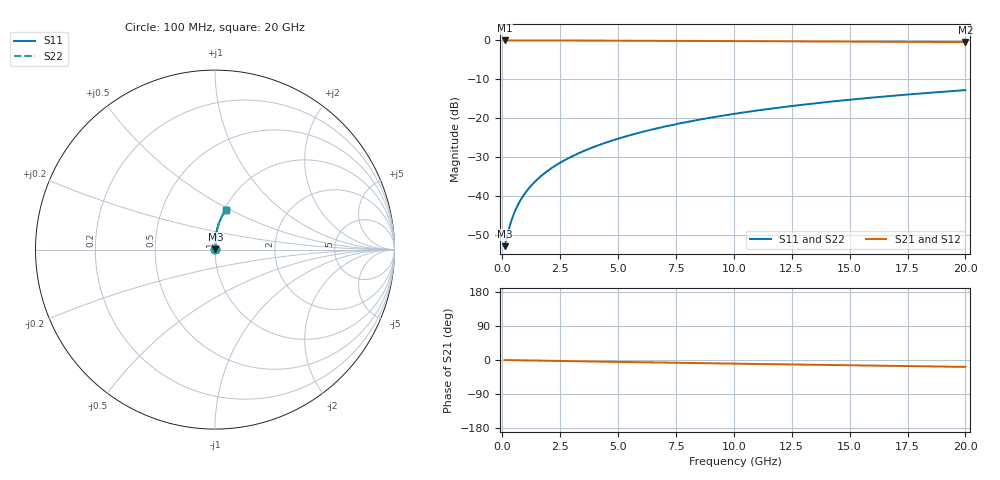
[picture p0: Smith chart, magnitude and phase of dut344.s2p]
! Touchstone file exported from HFSS 2024.1.0
!  File:  C:/UserFiles/LocalFiles/RDL_TSV_Batchsim/temp_RDL_top_344_1779607929.aedt
!  Generated:  03:34:26 PM May 24, 2026
!  Design:  RDL_top
!  Project:  temp_RDL_top_344_1779607929
!  Setup:  Setup1
!  Solution:  Sweep
! Variables:
!  dtsv = 10.80580581um
!  hbump = 3um
!  htsv = 53.34um
!  ldown = 100um
!  lrdl = 185.3um
!  p = 40
!  p1 = 57.5um
!  rhole = 1um
!  t = 450um
!  tdown = 3.915915916um
!  trdl = 2.08um
!  wdown = 15.38538539um
!  wrdl = 20.41um
# GHz S MA R 50.000000
! Terminal data exported
! Port[1] = Box2_T1
! Port[2] = Box2_T2
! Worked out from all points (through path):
!   200 points, 100 MHz to 20 GHz, reference 50 ohm
!   highest |S21| = -0.02 dB at 100 MHz (marker M1); lowest = -0.4 dB at 20 GHz (marker M2)
!   group delay of S21, straight-line fit = 2.5 ps
!   lowest |S11| = -53.0 dB at 100 MHz (marker M3), VSWR 1.00, Z = 50.2 + j0.112 ohm
!   |S11| at or under -10 dB: start of sweep to end of sweep
!   |S22| runs from -53.0 to -12.8 dB; largest |S21 - S12| = 3.1e-15
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0.1  0.002238 29.9  0.9981 -0.1  0.9981 -0.1  0.002238 29.9
! Gamma 0 0 0 0
! Port Impedance 50 0 50 0
0.3  0.003876 58.8  0.998 -0.3  0.998 -0.3  0.003876 58.8
0.4  0.004852 65.0  0.9979 -0.4  0.9979 -0.4  0.004852 65.0
0.5  0.005854 69.0  0.9978 -0.5  0.9978 -0.5  0.005854 69.0
0.6  0.006865 71.9  0.9977 -0.6  0.9977 -0.6  0.006865 71.9
0.8  0.008898 75.6  0.9976 -0.8  0.9976 -0.8  0.008898 75.6
1.1  0.01196 79.0  0.9973 -1.1  0.9973 -1.1  0.01196 79.0
1.5  0.01609 81.7  0.997 -1.5  0.997 -1.5  0.01609 81.7
1.8  0.01921 83.0  0.9967 -1.8  0.9967 -1.8  0.01921 83.0
2.1  0.02237 84.0  0.9963 -2.1  0.9963 -2.1  0.02237 84.0
2.7  0.02876 85.2  0.9955 -2.7  0.9955 -2.7  0.02876 85.2
3.5  0.03744 86.2  0.9943 -3.5  0.9943 -3.5  0.03744 86.2
4.2  0.0452 86.6  0.993 -4.2  0.993 -4.2  0.0452 86.6
5  0.05423 86.7  0.9914 -5.0  0.9914 -5.0  0.05423 86.7
5.9  0.06457 86.6  0.9895 -5.8  0.9895 -5.8  0.06457 86.6
6.8  0.07507 86.3  0.9874 -6.7  0.9874 -6.7  0.07507 86.3
8.4  0.09399 85.3  0.9836 -8.1  0.9836 -8.1  0.094 85.4
10.1  0.1143 84.0  0.9793 -9.7  0.9793 -9.7  0.1143 84.0
11.7  0.1333 82.6  0.9752 -11.1  0.9752 -11.1  0.1333 82.6
13.4  0.1534 81.1  0.9706 -12.6  0.9706 -12.6  0.1534 81.1
16.7  0.1917 78.0  0.9613 -15.4  0.9613 -15.4  0.1917 78.0
20  0.2287 74.9  0.9512 -18.2  0.9512 -18.2  0.2287 74.9
